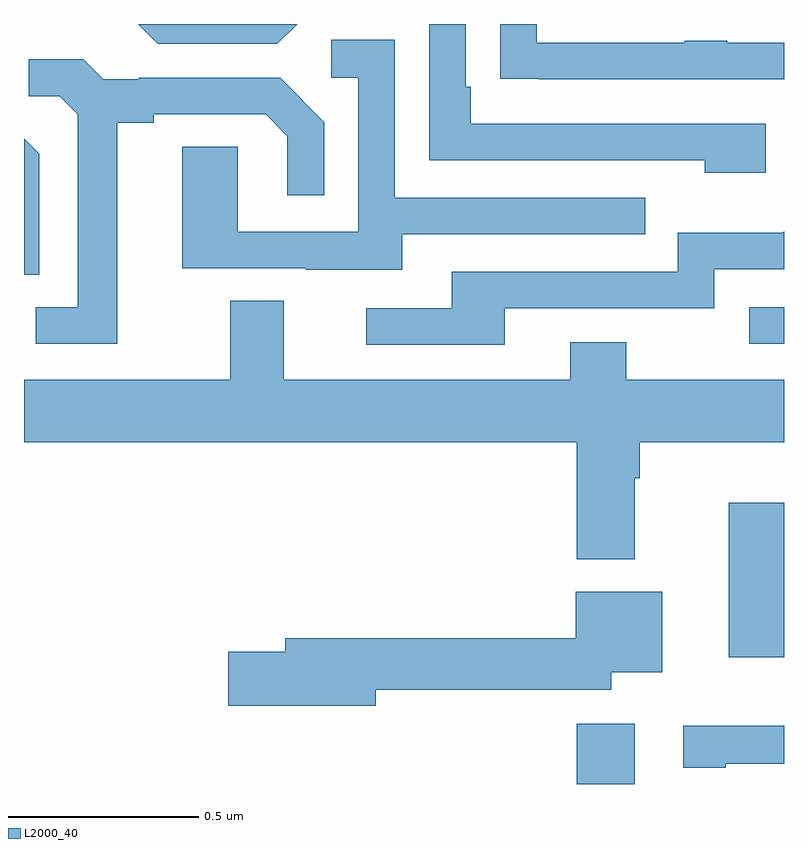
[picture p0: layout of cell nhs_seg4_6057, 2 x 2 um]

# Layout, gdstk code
import gdstk
lib = gdstk.Library(unit=1e-6, precision=1e-09)
def R(c, l, rs):  # rectangles x0, y0, x1, y1
    for r in rs: c.add(gdstk.rectangle(r[:2], r[2:], *l))
def P(c, l, *ps):  # polygons
    for p in ps: c.add(gdstk.Polygon(p, *l))
L2000_40 = (2000, 40)

nhs_seg4_6057 = lib.new_cell('nhs_seg4_6057')
R(nhs_seg4_6057, L2000_40, [(186.455,815.9,186.607,816.058), (186.854,816.234,187,816.64), (186.909,817.059,187,817.155)])
P(nhs_seg4_6057, L2000_40, [(186.952,817.638),(186.175,817.638),(186.175,817.735),(186.162,817.735),(186.162,817.9),(186.066,817.9),(186.066,817.542),(186.791,817.542),(186.791,817.508),(186.952,817.508)],
  [(185.719,817.9),(185.3,817.9),(185.352,817.848),(185.667,817.848)],
  [(187,817.851),(186.851,817.851),(186.851,817.856),(186.739,817.856),(186.739,817.851),(186.349,817.851),(186.349,817.9),(186.253,817.9),(186.253,817.756),(186.355,817.756),(186.355,817.755),(187,817.755)],
  [(185.995,817.347),(186.635,817.347),(186.635,817.443),(185.976,817.443),(185.976,817.859),(185.808,817.859),(185.808,817.758),(185.88,817.758),(185.88,817.353),(185.562,817.353),(185.562,817.577),(185.417,817.577),(185.417,817.257),(185.741,817.257),(185.741,817.253),(185.995,817.253)],
  [(185.245,817.64),(185.341,817.64),(185.341,817.662),(185.636,817.662),(185.693,817.605),(185.693,817.449),(185.79,817.449),(185.79,817.642),(185.674,817.758),(185.302,817.758),(185.302,817.755),(185.208,817.755),(185.156,817.807),(185.013,817.807),(185.013,817.71),(185.094,817.71),(185.141,817.663),(185.141,817.155),(185.031,817.155),(185.031,817.059),(185.245,817.059)],
  [(185.04,817.558),(185,817.598),(185,817.24),(185.04,817.24)],
  [(186.265,817.152),(186.816,817.152),(186.816,817.254),(187,817.254),(187,817.354),(186.997,817.351),(186.72,817.351),(186.72,817.248),(186.125,817.248),(186.125,817.152),(185.901,817.152),(185.901,817.056),(186.265,817.056)],
  [(186.607,816.704),(186.62,816.704),(186.62,816.8),(187,816.8),(187,816.964),(186.585,816.964),(186.585,817.063),(186.437,817.063),(186.437,816.964),(185.683,816.964),(185.683,817.172),(185.543,817.172),(185.543,816.964),(185,816.964),(185,816.8),(186.455,816.8),(186.455,816.491),(186.607,816.491)],
  [(185.926,816.148),(186.546,816.148),(186.546,816.194),(186.679,816.194),(186.679,816.406),(186.452,816.406),(186.452,816.284),(185.687,816.284),(185.687,816.248),(185.538,816.248),(185.538,816.106),(185.926,816.106)],
  [(186.847,815.953),(187,815.953),(187,816.053),(186.735,816.053),(186.735,815.943),(186.847,815.943)])

lib.write_gds('nhs_seg4_6057.gds')
